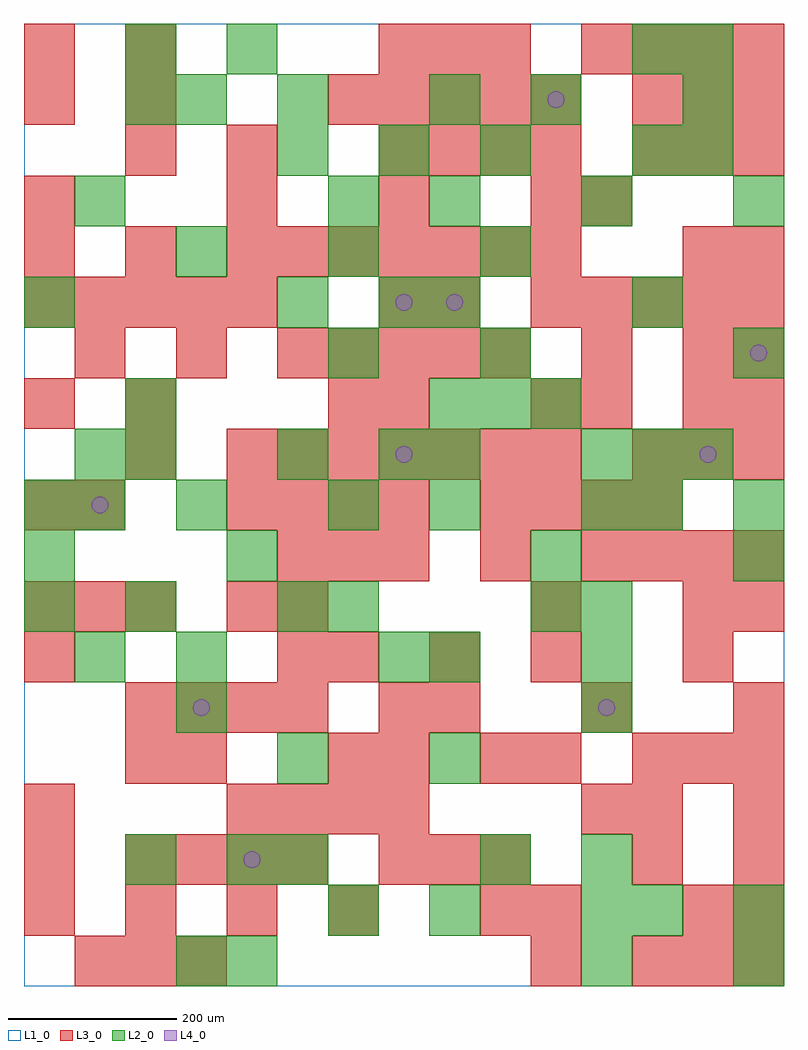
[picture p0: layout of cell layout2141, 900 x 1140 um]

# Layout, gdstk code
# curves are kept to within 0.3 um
import gdstk
lib = gdstk.Library(unit=1e-6, precision=1e-09)
def R(c, l, rs):  # rectangles x0, y0, x1, y1
    for r in rs: c.add(gdstk.rectangle(r[:2], r[2:], *l))
def A(c, l, x, y, w, h, nx, ny, dx, dy):  # array of equal rectangles
    R(c, l, [(x+i*dx, y+j*dy, x+i*dx+w, y+j*dy+h) for i in range(nx) for j in range(ny)])
def P(c, l, *ps):  # polygons
    for p in ps: c.add(gdstk.Polygon(p, *l))
L1_0 = (1, 0)
L2_0 = (2, 0)
L3_0 = (3, 0)
L4_0 = (4, 0)

layout2141 = lib.new_cell('layout2141')
R(layout2141, L1_0, [(0,0,900,1140)])
A(layout2141, L2_0, 660, 0, 60, 60, 1, 3, 0, 60)
A(layout2141, L2_0, 300, 240, 60, 60, 1, 4, 0, 180)
A(layout2141, L2_0, 660, 300, 60, 60, 1, 3, 0, 60)
A(layout2141, L2_0, 0, 420, 60, 60, 1, 3, 0, 60)
A(layout2141, L2_0, 360, 540, 60, 60, 1, 3, 0, 180)
A(layout2141, L2_0, 660, 600, 60, 60, 3, 1, 60, 0)
A(layout2141, L2_0, 480, 660, 60, 60, 3, 1, 60, 0)
A(layout2141, L2_0, 180, 840, 60, 60, 3, 1, 180, 0)
A(layout2141, L2_0, 480, 900, 60, 60, 3, 1, 180, 0)
A(layout2141, L2_0, 300, 960, 60, 60, 3, 1, 120, 0)
A(layout2141, L2_0, 780, 960, 60, 60, 1, 3, 0, 60)
R(layout2141, L2_0, [(180,0,240,60), (240,0,300,60), (840,0,900,60), (360,60,420,120), (480,60,540,120), (720,60,780,120), (840,60,900,120), (120,120,180,180), (240,120,300,180), (300,120,360,180), (540,120,600,180), (480,240,540,300), (180,300,240,360), (60,360,120,420), (180,360,240,420), (420,360,480,420), (480,360,540,420), (120,420,180,480), (360,420,420,480), (600,420,660,480), (240,480,300,540), (600,480,660,540), (840,480,900,540), (60,540,120,600), (180,540,240,600), (480,540,540,600), (660,540,720,600), (720,540,780,600), (840,540,900,600), (60,600,120,660), (120,600,180,660), (420,600,480,660), (480,600,540,660), (120,660,180,720), (540,720,600,780), (840,720,900,780), (0,780,60,840), (420,780,480,840), (480,780,540,840), (720,780,780,840), (60,900,120,960), (720,960,780,1020), (120,1020,180,1080), (180,1020,240,1080), (300,1020,360,1080), (480,1020,540,1080), (600,1020,660,1080), (120,1080,180,1140), (240,1080,300,1140), (720,1080,780,1140)])
A(layout2141, L3_0, 60, 0, 60, 60, 3, 1, 60, 0)
A(layout2141, L3_0, 720, 0, 60, 60, 3, 2, 60, 240)
A(layout2141, L3_0, 0, 60, 60, 60, 4, 1, 120, 0)
A(layout2141, L3_0, 600, 60, 60, 60, 1, 3, 0, 180)
A(layout2141, L3_0, 840, 60, 60, 60, 1, 3, 0, 60)
A(layout2141, L3_0, 120, 120, 60, 60, 4, 2, 60, 180)
A(layout2141, L3_0, 420, 120, 60, 60, 3, 2, 60, 960)
A(layout2141, L3_0, 0, 180, 60, 60, 1, 3, 0, 180)
A(layout2141, L3_0, 240, 180, 60, 60, 4, 2, 60, 360)
A(layout2141, L3_0, 480, 300, 60, 60, 3, 1, 180, 0)
A(layout2141, L3_0, 360, 360, 60, 60, 3, 1, 120, 0)
A(layout2141, L3_0, 0, 420, 60, 60, 3, 1, 60, 0)
A(layout2141, L3_0, 300, 480, 60, 60, 3, 1, 60, 0)
A(layout2141, L3_0, 660, 480, 60, 60, 4, 2, 60, 600)
A(layout2141, L3_0, 540, 540, 60, 60, 4, 1, 60, 0)
A(layout2141, L3_0, 240, 600, 60, 60, 7, 1, 60, 0)
A(layout2141, L3_0, 720, 600, 60, 60, 3, 2, 60, 360)
A(layout2141, L3_0, 60, 720, 60, 60, 3, 1, 120, 0)
A(layout2141, L3_0, 360, 720, 60, 60, 4, 1, 60, 0)
A(layout2141, L3_0, 0, 780, 60, 60, 5, 1, 60, 0)
A(layout2141, L3_0, 600, 780, 60, 60, 5, 1, 60, 0)
A(layout2141, L3_0, 0, 840, 60, 60, 3, 1, 120, 0)
A(layout2141, L3_0, 300, 840, 60, 60, 6, 1, 60, 0)
A(layout2141, L3_0, 240, 900, 60, 60, 3, 1, 180, 0)
A(layout2141, L3_0, 120, 960, 60, 60, 1, 3, 0, 60)
A(layout2141, L3_0, 420, 960, 60, 60, 4, 1, 60, 0)
A(layout2141, L3_0, 360, 1020, 60, 60, 5, 1, 60, 0)
A(layout2141, L3_0, 720, 1020, 60, 60, 3, 1, 60, 0)
R(layout2141, L3_0, [(600,0,660,60), (540,60,600,120), (780,60,840,120), (0,120,60,180), (720,120,780,180), (660,180,720,240), (720,180,780,240), (120,240,180,300), (180,240,240,300), (360,240,420,300), (420,240,480,300), (540,240,600,300), (420,300,480,360), (300,360,360,420), (780,360,840,420), (240,420,300,480), (300,420,360,480), (780,420,840,480), (840,420,900,480), (540,480,600,540), (60,540,120,600), (120,600,180,660), (0,660,60,720), (120,660,180,720), (360,660,420,720), (420,660,480,720), (600,660,660,720), (660,660,720,720), (780,660,840,720), (840,660,900,720), (660,720,720,780), (780,720,840,780), (840,720,900,780), (420,780,480,840), (480,780,540,840), (780,840,840,900), (840,840,900,900), (0,900,60,960), (660,900,720,960), (240,960,300,1020), (0,1020,60,1080), (0,1080,60,1140)])
P(layout2141, L4_0, [(100,570),(99.239,573.827),(97.071,577.071),(93.827,579.239),(90,580),(86.173,579.239),(82.929,577.071),(80.761,573.827),(80,570),(80.761,566.173),(82.929,562.929),(86.173,560.761),(90,560),(93.827,560.761),(97.071,562.929),(99.239,566.173)],
  [(220,330),(219.239,333.827),(217.071,337.071),(213.827,339.239),(210,340),(206.173,339.239),(202.929,337.071),(200.761,333.827),(200,330),(200.761,326.173),(202.929,322.929),(206.173,320.761),(210,320),(213.827,320.761),(217.071,322.929),(219.239,326.173)],
  [(280,150),(279.239,153.827),(277.071,157.071),(273.827,159.239),(270,160),(266.173,159.239),(262.929,157.071),(260.761,153.827),(260,150),(260.761,146.173),(262.929,142.929),(266.173,140.761),(270,140),(273.827,140.761),(277.071,142.929),(279.239,146.173)],
  [(460,630),(459.239,633.827),(457.071,637.071),(453.827,639.239),(450,640),(446.173,639.239),(442.929,637.071),(440.761,633.827),(440,630),(440.761,626.173),(442.929,622.929),(446.173,620.761),(450,620),(453.827,620.761),(457.071,622.929),(459.239,626.173)],
  [(460,810),(459.239,813.827),(457.071,817.071),(453.827,819.239),(450,820),(446.173,819.239),(442.929,817.071),(440.761,813.827),(440,810),(440.761,806.173),(442.929,802.929),(446.173,800.761),(450,800),(453.827,800.761),(457.071,802.929),(459.239,806.173)],
  [(520,810),(519.239,813.827),(517.071,817.071),(513.827,819.239),(510,820),(506.173,819.239),(502.929,817.071),(500.761,813.827),(500,810),(500.761,806.173),(502.929,802.929),(506.173,800.761),(510,800),(513.827,800.761),(517.071,802.929),(519.239,806.173)],
  [(640,1050),(639.239,1053.827),(637.071,1057.071),(633.827,1059.239),(630,1060),(626.173,1059.239),(622.929,1057.071),(620.761,1053.827),(620,1050),(620.761,1046.173),(622.929,1042.929),(626.173,1040.761),(630,1040),(633.827,1040.761),(637.071,1042.929),(639.239,1046.173)],
  [(700,330),(699.239,333.827),(697.071,337.071),(693.827,339.239),(690,340),(686.173,339.239),(682.929,337.071),(680.761,333.827),(680,330),(680.761,326.173),(682.929,322.929),(686.173,320.761),(690,320),(693.827,320.761),(697.071,322.929),(699.239,326.173)],
  [(820,630),(819.239,633.827),(817.071,637.071),(813.827,639.239),(810,640),(806.173,639.239),(802.929,637.071),(800.761,633.827),(800,630),(800.761,626.173),(802.929,622.929),(806.173,620.761),(810,620),(813.827,620.761),(817.071,622.929),(819.239,626.173)],
  [(880,750),(879.239,753.827),(877.071,757.071),(873.827,759.239),(870,760),(866.173,759.239),(862.929,757.071),(860.761,753.827),(860,750),(860.761,746.173),(862.929,742.929),(866.173,740.761),(870,740),(873.827,740.761),(877.071,742.929),(879.239,746.173)])

lib.write_gds('layout2141.gds')
